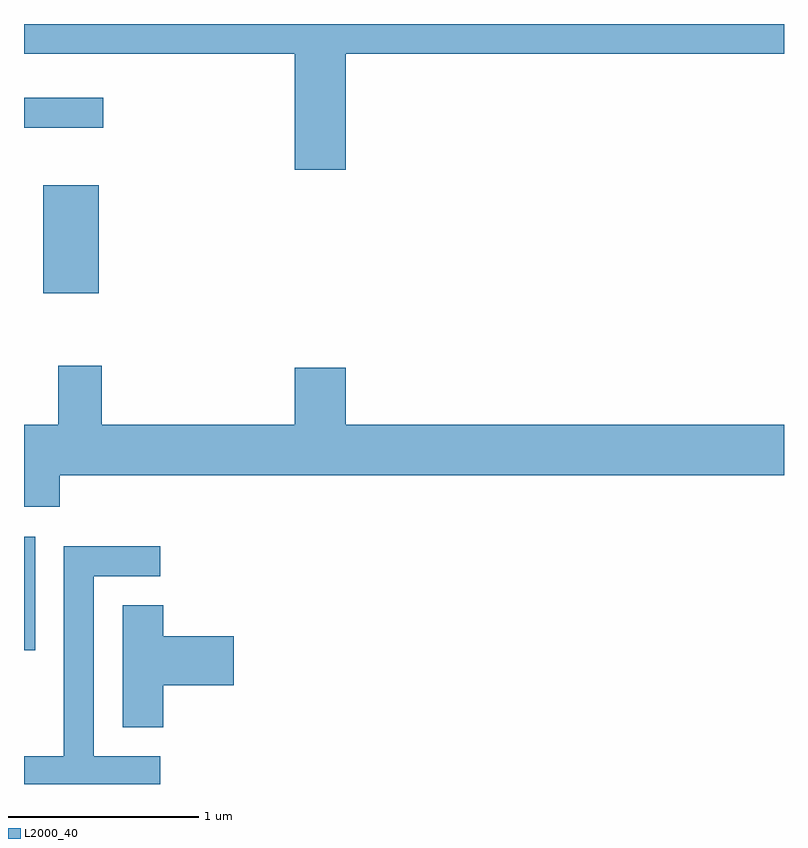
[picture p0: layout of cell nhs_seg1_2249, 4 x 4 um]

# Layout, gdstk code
import gdstk
lib = gdstk.Library(unit=1e-6, precision=1e-09)
def R(c, l, rs):  # rectangles x0, y0, x1, y1
    for r in rs: c.add(gdstk.rectangle(r[:2], r[2:], *l))
def P(c, l, *ps):  # polygons
    for p in ps: c.add(gdstk.Polygon(p, *l))
L2000_40 = (2000, 40)

nhs_seg1_2249 = lib.new_cell('nhs_seg1_2249')
R(nhs_seg1_2249, L2000_40, [(253.611,916.416,253.669,917.014), (253.711,918.296,254.004,918.864), (253.611,919.166,254.028,919.324)])
P(nhs_seg1_2249, L2000_40, [(255.304,919.556),(257.611,919.556),(257.611,919.712),(253.611,919.712),(253.611,919.556),(255.036,919.556),(255.036,918.946),(255.304,918.946)],
  [(253.799,917.336),(257.611,917.336),(257.611,917.604),(255.304,917.604),(255.304,917.904),(255.036,917.904),(255.036,917.604),(254.019,917.604),(254.019,917.914),(253.791,917.914),(253.791,917.604),(253.611,917.604),(253.611,917.171),(253.799,917.171)],
  [(254.328,915.859),(253.979,915.859),(253.979,916.806),(254.328,916.806),(254.328,916.964),(253.821,916.964),(253.821,915.859),(253.611,915.859),(253.611,915.712),(254.328,915.712)],
  [(254.344,916.231),(254.714,916.231),(254.714,916.489),(254.344,916.489),(254.344,916.654),(254.131,916.654),(254.131,916.011),(254.344,916.011)])

lib.write_gds('nhs_seg1_2249.gds')
